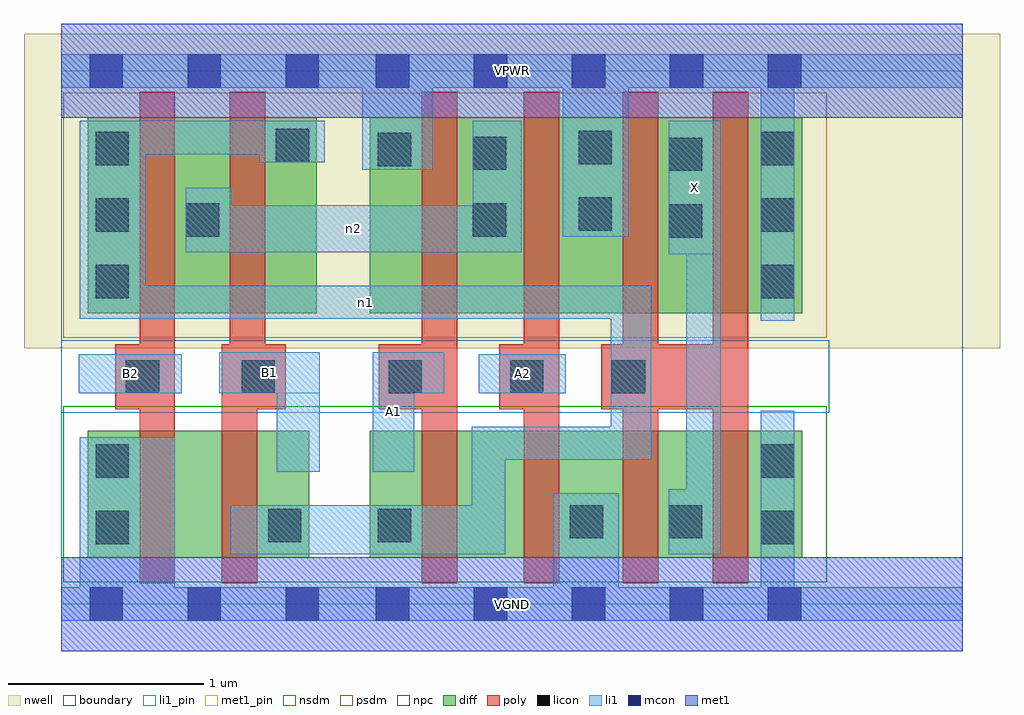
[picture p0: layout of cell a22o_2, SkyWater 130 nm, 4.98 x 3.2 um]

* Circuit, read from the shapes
.subckt a22o_2 A1 A2 B1 B2 VGND VPWR X n1 n2
XM1 n3 B2 VGND VSUBS sky130_fd_pr__nfet_01v8 w=0.65 l=0.18
XM2 n1 B1 n3 VSUBS sky130_fd_pr__nfet_01v8 w=0.65 l=0.18
XM3 n4 A1 n1 VSUBS sky130_fd_pr__nfet_01v8 w=0.65 l=0.18
XM4 VGND A2 n4 VSUBS sky130_fd_pr__nfet_01v8 w=0.65 l=0.18
XM5 X n1 VGND VSUBS sky130_fd_pr__nfet_01v8 w=0.65 l=0.18 m=2
XM6 n2 B2 n1 n5 sky130_fd_pr__pfet_01v8 w=1 l=0.18
XM7 n1 B1 n2 n5 sky130_fd_pr__pfet_01v8 w=1 l=0.18
XM8 n2 A1 VPWR n5 sky130_fd_pr__pfet_01v8 w=1 l=0.18
XM9 VPWR A2 n2 n5 sky130_fd_pr__pfet_01v8 w=1 l=0.18
XM10 X n1 VPWR n5 sky130_fd_pr__pfet_01v8 w=1 l=0.18 m=2
.ends

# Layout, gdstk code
import gdstk
lib = gdstk.Library(unit=1e-6, precision=1e-09)
def R(c, l, rs):  # rectangles x0, y0, x1, y1
    for r in rs: c.add(gdstk.rectangle(r[:2], r[2:], *l))
def A(c, l, x, y, w, h, nx, ny, dx, dy):  # array of equal rectangles
    R(c, l, [(x+i*dx, y+j*dy, x+i*dx+w, y+j*dy+h) for i in range(nx) for j in range(ny)])
nwell = (64, 20)
diff = (65, 20)
poly = (66, 20)
licon = (66, 44)
li1_pin = (67, 16)
li1 = (67, 20)
mcon = (67, 44)
met1_pin = (68, 16)
met1 = (68, 20)
nsdm = (93, 44)
psdm = (94, 20)
npc = (95, 20)
boundary = (235, 4)

a22o_2 = lib.new_cell('a22o_2')
R(a22o_2, nwell, [(-0.19,1.305,4.79,2.91), (0,1.305,4.6,2.91)])
R(a22o_2, diff, [(0.135,0.235,1.265,0.885), (1.575,0.235,3.78,0.885), (0.135,1.485,1.305,2.485), (1.575,1.485,3.78,2.485)])
R(a22o_2, poly, [(0.4,0.105,0.58,2.615), (0.82,0.105,1,1.325), (1.84,0.105,2.02,2.615), (2.36,0.105,2.54,2.615), (2.865,0.105,3.045,2.615), (3.325,0.105,3.505,2.615), (0.275,0.995,0.58,1.325), (0.82,0.995,1.145,1.325), (0.86,0.995,1.04,2.615), (1.62,0.995,2.02,1.325), (2.235,0.995,2.54,1.325), (2.755,0.995,3.505,1.325)])
A(a22o_2, licon, 0.175, 1.56, 0.17, 0.17, 1, 3, 0, 0.34)
A(a22o_2, licon, 3.57, 1.56, 0.17, 0.17, 1, 3, 0, 0.34)
R(a22o_2, licon, [(0.175,0.305,0.345,0.475), (3.57,0.305,3.74,0.475), (1.055,0.315,1.225,0.485), (1.615,0.315,1.785,0.485), (2.595,0.335,2.765,0.505), (3.1,0.335,3.27,0.505), (0.175,0.645,0.345,0.815), (3.57,0.645,3.74,0.815), (0.33,1.075,0.5,1.245), (0.92,1.075,1.09,1.245), (1.67,1.075,1.84,1.245), (2.29,1.075,2.46,1.245), (2.81,1.075,2.98,1.245), (3.1,1.87,3.27,2.04), (0.635,1.875,0.805,2.045), (2.1,1.875,2.27,2.045), (2.64,1.905,2.81,2.075), (3.1,2.21,3.27,2.38), (2.1,2.215,2.27,2.385), (1.615,2.235,1.785,2.405), (2.64,2.245,2.81,2.415), (1.095,2.255,1.265,2.425)])
R(a22o_2, li1_pin, [(1.59,0.675,1.8,1.285), (0.09,1.075,0.615,1.275), (0.805,1.075,1.32,1.285), (2.13,1.075,2.575,1.275), (3.1,1.785,3.365,2.465)])
R(a22o_2, li1, [(0,-0.085,4.6,0.085), (0.095,-0.085,0.58,0.85), (2.51,-0.085,2.845,0.565), (3.57,-0.085,3.74,0.985), (0.865,0.255,2.265,0.505), (2.095,0.255,2.265,0.905), (3.1,0.255,3.365,0.585), (3.19,0.255,3.365,2.465), (1.1,0.675,1.32,1.285), (1.59,0.675,1.8,1.285), (2.095,0.735,3.01,0.905), (2.805,0.735,3.01,1.625), (0.09,1.075,0.615,1.275), (0.805,1.075,1.32,1.285), (1.59,1.075,1.955,1.285), (2.13,1.075,2.575,1.275), (3.57,1.445,3.74,2.805), (0.095,1.455,3.01,1.625), (0.095,1.455,0.43,2.465), (3.1,1.785,3.365,2.465), (0.635,1.795,2.35,2.035), (0.635,1.795,0.87,2.125), (2.1,1.795,2.35,2.465), (2.56,1.875,2.895,2.805), (1.535,2.215,1.895,2.805), (1.01,2.255,1.345,2.465), (0.095,2.295,1.345,2.465), (0,2.635,4.6,2.805)])
A(a22o_2, mcon, 0.145, -0.085, 0.17, 0.17, 3, 2, 0.5, 2.72)
A(a22o_2, mcon, 1.605, -0.085, 0.17, 0.17, 5, 2, 0.5, 2.72)
R(a22o_2, met1_pin, [(0,-0.24,4.6,0.24), (0,2.48,4.6,2.96)])
R(a22o_2, met1, [(0,-0.24,4.6,0.24), (0,2.48,4.6,2.96)])
R(a22o_2, nsdm, [(0.01,0.11,3.905,1.01)])
R(a22o_2, psdm, [(0.01,1.36,3.905,2.61)])
R(a22o_2, npc, [(0,0.975,3.92,1.345)])
R(a22o_2, boundary, [(0,0,4.6,2.72)])
a22o_2.add(gdstk.Label('A1', (1.695,0.98), layer=67, texttype=5))
a22o_2.add(gdstk.Label('A2', (2.352,1.175), layer=67, texttype=5))
a22o_2.add(gdstk.Label('B1', (1.062,1.18), layer=67, texttype=5))
a22o_2.add(gdstk.Label('B2', (0.352,1.175), layer=67, texttype=5))
a22o_2.add(gdstk.Label('X', (3.232,2.125), layer=67, texttype=5))
a22o_2.add(gdstk.Label('n1', (1.552,1.54), layer=67, texttype=5))
a22o_2.add(gdstk.Label('n2', (1.492,1.915), layer=67, texttype=5))
a22o_2.add(gdstk.Label('VPWR', (2.3,2.72), layer=68, texttype=5))
a22o_2.add(gdstk.Label('VGND', (2.3,0), layer=68, texttype=5))
a22o_2.add(gdstk.Label('A1', (1.695,0.98), layer=67, texttype=16))
a22o_2.add(gdstk.Label('A2', (2.352,1.175), layer=67, texttype=16))
a22o_2.add(gdstk.Label('B1', (1.062,1.18), layer=67, texttype=16))
a22o_2.add(gdstk.Label('B2', (0.352,1.175), layer=67, texttype=16))
a22o_2.add(gdstk.Label('X', (3.232,2.125), layer=67, texttype=16))
a22o_2.add(gdstk.Label('VPWR', (2.3,2.72), layer=68, texttype=16))
a22o_2.add(gdstk.Label('VGND', (2.3,0), layer=68, texttype=16))

lib.write_gds('a22o_2.gds')
